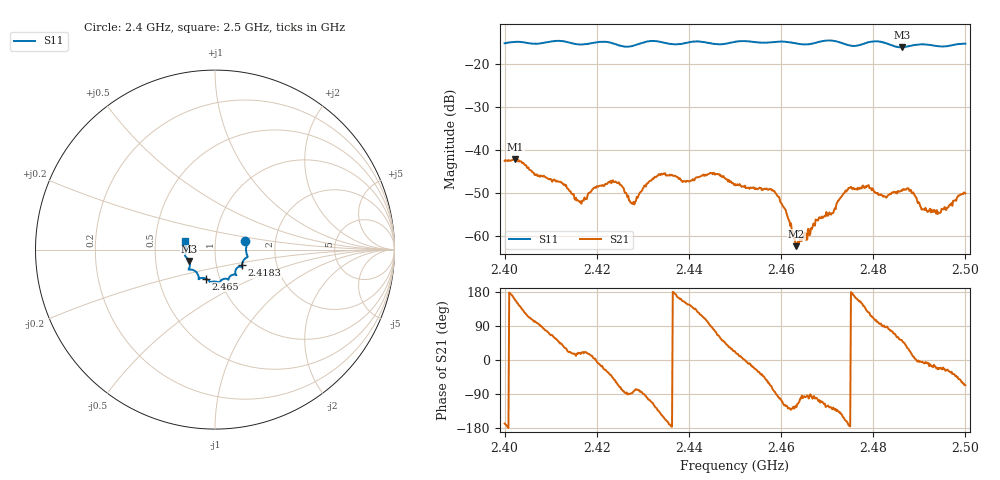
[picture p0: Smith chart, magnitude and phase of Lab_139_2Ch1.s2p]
# Hz S RI R 50
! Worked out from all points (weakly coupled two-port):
!   601 points, 2.4 GHz to 2.5 GHz, reference 50 ohm
!   highest |S21| = -42.04 dB at 2.4023 GHz (marker M1); lowest = -62.2 dB at 2.4633 GHz (marker M2)
!   lowest |S11| = -16.1 dB at 2.4862 GHz (marker M3), VSWR 1.37, Z = 37.2 - j4.83 ohm
!   |S11| at or under -10 dB: start of sweep to end of sweep
!   S12 and S22 are empty: the file has one direction only
!   S11 on the Smith chart (normalised r, x): 2.4 GHz: 1.40, +0.14; 2.4183 GHz: 1.33, -0.24; 2.465 GHz: 0.86, -0.28; 2.5 GHz: 0.71, +0.07
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2.4e9  0.1687 0.0469  -0.00738 -0.00159  0 0  0 0
2.402333e9  0.1783 0.0362  -0.00731 0.00301  0 0  0 0
2.4125e9  0.1807 -0.0416  0.00321 0.0027  0 0  0 0
2.416667e9  0.1549 -0.0684  0.00227 0.000781  0 0  0 0
2.418333e9  0.1501 -0.0872  0.0031 0.000877  0 0  0 0
2.423833e9  0.144 -0.0952  0.0026 -0.0034  0 0  0 0
2.427833e9  0.1143 -0.1167  0.000201 -0.00239  0 0  0 0
2.433333e9  0.1176 -0.1411  -0.00349 -0.00374  0 0  0 0
2.439667e9  0.0766 -0.1608  -0.0037 0.00243  0 0  0 0
2.445e9  0.0622 -0.1622  0.00035 0.00542  0 0  0 0
2.45e9  0.0261 -0.1803  0.00376 0.00155  0 0  0 0
2.458333e9  -0.0194 -0.1799  0.00061 -0.00332  0 0  0 0
2.460833e9  -0.029 -0.1801  -0.001 -0.00184  0 0  0 0
2.463333e9  -0.0375 -0.17  -0.000434 -0.000638  0 0  0 0
2.465e9  -0.0523 -0.1614  -0.000103 -0.00107  0 0  0 0
2.466667e9  -0.0713 -0.1577  -0.000157 -0.00121  0 0  0 0
2.471333e9  -0.0907 -0.164  -0.00109 -0.00153  0 0  0 0
2.474833e9  -0.0996 -0.132  -0.00362 -0.000371  0 0  0 0
2.483333e9  -0.1412 -0.0967  0.000436 0.00302  0 0  0 0
2.486167e9  -0.1438 -0.0634  0.00208 0.00276  0 0  0 0
2.494167e9  -0.1612 -0.00736  0.00178 -0.000678  0 0  0 0
2.5e9  -0.1666 0.0467  0.00125 -0.0029  0 0  0 0
